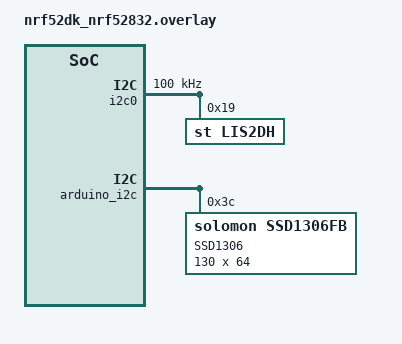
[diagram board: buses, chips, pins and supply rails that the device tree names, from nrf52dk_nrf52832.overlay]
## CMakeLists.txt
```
cmake_minimum_required(VERSION 3.20.0)
find_package(Zephyr REQUIRED HINTS $ENV{ZEPHYR_BASE})

project(LIS3DH_ON_OLED)

target_sources(app PRIVATE src/main.c)
```

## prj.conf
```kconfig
CONFIG_GPIO=y
CONFIG_HEAP_MEM_POOL_SIZE=16384
CONFIG_MAIN_STACK_SIZE=4096
CONFIG_DEBUG_OPTIMIZATIONS=y
CONFIG_ASSERT=y
CONFIG_I2C=y
CONFIG_DISPLAY=y
CONFIG_DISPLAY_LOG_LEVEL_DBG=y
CONFIG_LOG=y
CONFIG_SSD1306=y

# Console
CONFIG_CONSOLE=y
CONFIG_STDOUT_CONSOLE=y
CONFIG_PRINTK=y
CONFIG_EARLY_CONSOLE=y
CONFIG_USE_SEGGER_RTT=y
CONFIG_RTT_CONSOLE=y

# CFB
CONFIG_CFB_LOG_LEVEL_DBG=y
CONFIG_CHARACTER_FRAMEBUFFER=y
CONFIG_SSD1306_DEFAULT_CONTRAST=128
CONFIG_SSD1306_REVERSE_MODE=y
CONFIG_SSD1306_SH1106_COMPATIBLE=y


############################
CONFIG_STDOUT_CONSOLE=y
CONFIG_SENSOR=y
CONFIG_CBPRINTF_FP_SUPPORT=y
CONFIG_PM_DEVICE=y
CONFIG_LIS2DH=y
```

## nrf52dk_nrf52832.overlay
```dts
&pinctrl {
	i2c0_default: i2c0_default {
		group1 {
			psels = <NRF_PSEL(TWIM_SDA, 0, 26)>,
					<NRF_PSEL(TWIM_SCL, 0, 27)>;
		};
	};

	i2c0_sleep: i2c0_sleep {
		group1 {
			psels = <NRF_PSEL(TWIM_SDA, 0, 26)>,
					<NRF_PSEL(TWIM_SCL, 0, 27)>;
			low-power-enable;
		};
	};

};

&i2c0 {
	compatible = "nordic,nrf-twim";
	status = "okay";

	clock-frequency = <I2C_BITRATE_STANDARD>;

	lis2dh@19 {
        status = "okay";
        compatible = "st,lis2dh";
        reg = <0x19>;
       
        label = "LIS2DH";
        
    };
};


////////////////////////////////////////////////

&arduino_i2c {
    status = "okay";
    compatible = "nordic,nrf-twi";
    
	ssd1306_ssd1306_128x64_I2C: ssd1306@3c {
        compatible = "solomon,ssd1306fb";
		reg = <0x3c>;
        label = "SSD1306";
		width = <130>;
		height = <64>;
		segment-offset = <0>;
		page-offset = <0>;
		display-offset = <0>;
		multiplex-ratio = <63>;
		segment-remap;
		com-invdir;
		prechargep = <0x22>;
	};
};
```

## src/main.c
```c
#include <stdio.h>
#include <zephyr/zephyr.h>
#include <zephyr/device.h>
#include <zephyr/drivers/display.h>
#include <zephyr/display/cfb.h>
#include <zephyr/drivers/sensor.h>
#include <zephyr/kernel.h>
#include <zephyr/sys/printk.h>
#include <string.h>

void main(void) {
    // Device initialization
    const struct device *display_dev = device_get_binding("SSD1306");
    if (!display_dev || !device_is_ready(display_dev)) {
        printk("Display device not ready\n");
        return;
    }

    const struct device *lis2dh = DEVICE_DT_GET_ANY(st_lis2dh);
    if (!lis2dh || !device_is_ready(lis2dh)) {
        printk("LIS2DH sensor not found or not ready\n");
        return;
    }

    // Initialize the character framebuffer
    if (cfb_framebuffer_init(display_dev)) {
        printk("Framebuffer initialization failed\n");
        return;
    }

    if (display_set_pixel_format(display_dev, PIXEL_FORMAT_MONO10) != 0) {
        printk("Failed to set required pixel format\n");
        return;
    }

    display_blanking_off(display_dev);

    uint8_t smallest_font_idx = 0; // Default to the first font
    uint8_t smallest_font_width = 13;
    uint8_t smallest_font_height = 13;
    cfb_set_kerning(display_dev, -1); // Positive value for larger gaps
    

    // Adjust coordinates for manual multiline alignment
    int line_spacing = smallest_font_height + 1; // Add a gap between lines
    int start_x = 2; // Starting X coordinate
    int start_y = 0; // Starting Y coordinate for the first line

    struct sensor_value accel[3]; // Sensor data storage
    char text_line[30]; // Buffer for individual text lines

    while (1) {
        // Clear the framebuffer
        cfb_framebuffer_clear(display_dev, false);

        // Fetch sensor data
        if (sensor_sample_fetch(lis2dh) == 0) {
            sensor_channel_get(lis2dh, SENSOR_CHAN_ACCEL_XYZ, accel);

            // Print "Accelerometer" label
            snprintf(text_line, sizeof(text_line), "Accelerometer");
            if (cfb_print(display_dev, text_line, start_x, start_y) != 0) {
                printk("Failed to print on the display\n");
                return;
            }

            // Print X-axis data
            snprintf(text_line, sizeof(text_line), "X: %.2f", sensor_value_to_double(&accel[0]));
            if (cfb_print(display_dev, text_line, start_x, start_y + line_spacing) != 0) {
                printk("Failed to print on the display\n");
                return;
            }

            // Print Y-axis data
            snprintf(text_line, sizeof(text_line), "Y: %.2f", sensor_value_to_double(&accel[1]));
            if (cfb_print(display_dev, text_line, start_x, start_y + 2 * line_spacing) != 0) {
                printk("Failed to print on the display\n");
                return;
            }

            // Print Z-axis data
            snprintf(text_line, sizeof(text_line), "Z: %.2f", sensor_value_to_double(&accel[2]));
            if (cfb_print(display_dev, text_line, start_x, start_y + 3 * line_spacing) != 0) {
                printk("Failed to print on the display\n");
                return;
            }

            cfb_framebuffer_finalize(display_dev); // Finalize the display update
        } else {
            printk("Failed to fetch sensor data\n");
        }

        // Wait for a short time before the next update
        k_sleep(K_MSEC(500));
    }
}
```
